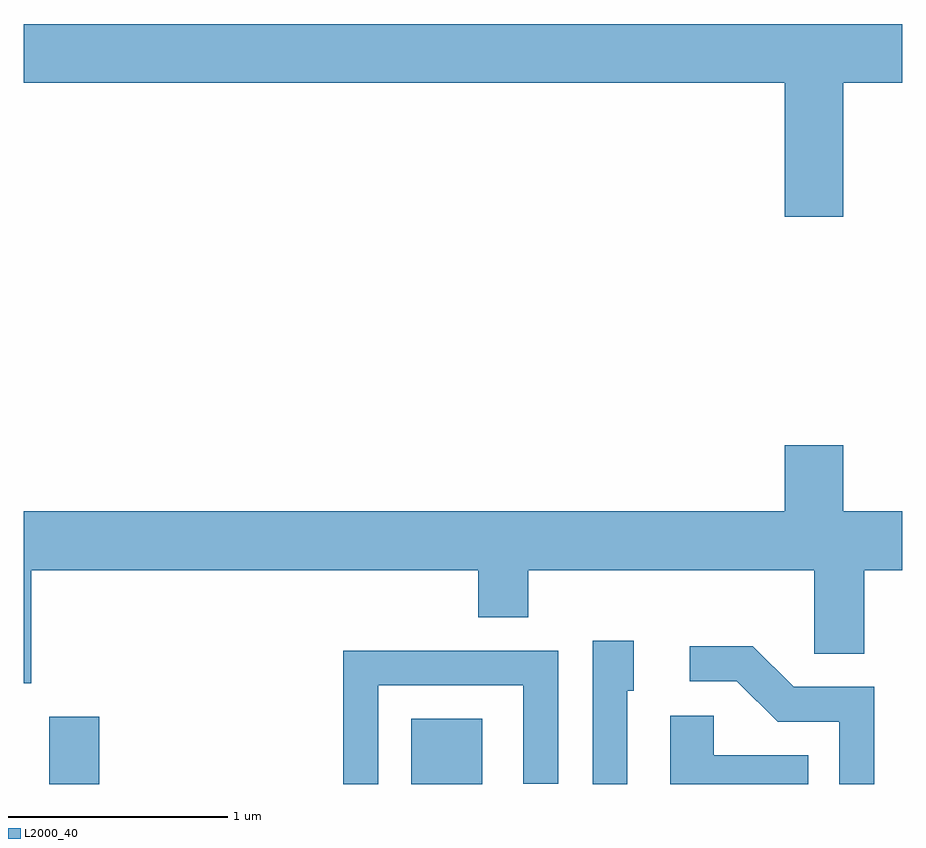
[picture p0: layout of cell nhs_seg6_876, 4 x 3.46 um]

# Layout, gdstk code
import gdstk
lib = gdstk.Library(unit=1e-6, precision=1e-09)
def R(c, l, rs):  # rectangles x0, y0, x1, y1
    for r in rs: c.add(gdstk.rectangle(r[:2], r[2:], *l))
def P(c, l, *ps):  # polygons
    for p in ps: c.add(gdstk.Polygon(p, *l))
L2000_40 = (2000, 40)

nhs_seg6_876 = lib.new_cell('nhs_seg6_876')
R(nhs_seg6_876, L2000_40, [(211.726,1560.162,211.954,1560.469), (213.376,1560.162,213.699,1560.459)])
P(nhs_seg6_876, L2000_40, [(215.344,1563.356),(215.611,1563.356),(215.611,1563.624),(211.611,1563.624),(211.611,1563.356),(215.076,1563.356),(215.076,1562.746),(215.344,1562.746)],
  [(211.644,1561.136),(213.681,1561.136),(213.681,1560.921),(213.909,1560.921),(213.909,1561.136),(215.211,1561.136),(215.211,1560.756),(215.439,1560.756),(215.439,1561.136),(215.611,1561.136),(215.611,1561.404),(215.344,1561.404),(215.344,1561.704),(215.076,1561.704),(215.076,1561.404),(211.611,1561.404),(211.611,1560.621),(211.644,1560.621)],
  [(214.359,1560.586),(214.389,1560.586),(214.389,1560.814),(214.201,1560.814),(214.201,1560.162),(214.359,1560.162)],
  [(215.484,1560.604),(215.117,1560.604),(214.932,1560.789),(214.643,1560.789),(214.643,1560.631),(214.859,1560.631),(215.044,1560.446),(215.326,1560.446),(215.326,1560.162),(215.484,1560.162)],
  [(213.224,1560.611),(213.886,1560.611),(213.886,1560.163),(214.044,1560.163),(214.044,1560.769),(213.066,1560.769),(213.066,1560.162),(213.224,1560.162)],
  [(215.183,1560.294),(214.754,1560.294),(214.754,1560.474),(214.556,1560.474),(214.556,1560.162),(215.183,1560.162)])

lib.write_gds('nhs_seg6_876.gds')
